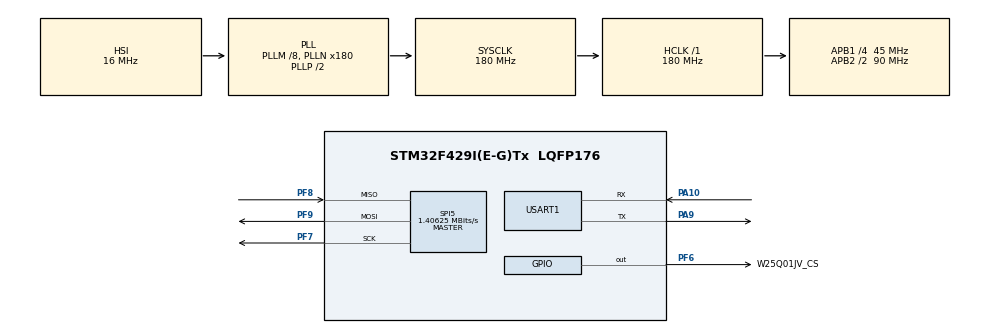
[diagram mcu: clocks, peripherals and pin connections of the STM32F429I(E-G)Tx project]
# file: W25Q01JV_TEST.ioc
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Mcu.Family=STM32F4
Mcu.Name=STM32F429I(E-G)Tx
Mcu.Package=LQFP176
NVIC.PriorityGroup=NVIC_PRIORITYGROUP_4
NVIC.USART1_IRQn=true\:0\:0\:false\:false\:true\:true\:true\:true
PA10.Mode=Asynchronous
PA10.Signal=USART1_RX
PA13.Mode=Serial_Wire
PA13.Signal=SYS_JTMS-SWDIO
PA14.Mode=Serial_Wire
PA14.Signal=SYS_JTCK-SWCLK
PA9.Mode=Asynchronous
PA9.Signal=USART1_TX
PF6.GPIO_Label=W25Q01JV_CS
PF6.Signal=GPIO_Output
PF7.Mode=Full_Duplex_Master
PF7.Signal=SPI5_SCK
PF8.Mode=Full_Duplex_Master
PF8.Signal=SPI5_MISO
PF9.Mode=Full_Duplex_Master
PF9.Signal=SPI5_MOSI
PH0/OSC_IN.Mode=HSE-External-Oscillator
PH0/OSC_IN.Signal=RCC_OSC_IN
PH1/OSC_OUT.Mode=HSE-External-Oscillator
PH1/OSC_OUT.Signal=RCC_OSC_OUT
ProjectManager.HeapSize=0x200
ProjectManager.StackSize=0x400
ProjectManager.TargetToolchain=MDK-ARM V5.32
RCC.48MHZClocksFreq_Value=90000000
RCC.AHBFreq_Value=180000000
RCC.APB1CLKDivider=RCC_HCLK_DIV4
RCC.APB1Freq_Value=45000000
RCC.APB1TimFreq_Value=90000000
RCC.APB2CLKDivider=RCC_HCLK_DIV2
RCC.APB2Freq_Value=90000000
RCC.APB2TimFreq_Value=180000000
RCC.CortexFreq_Value=180000000
RCC.HCLKFreq_Value=180000000
RCC.HSE_VALUE=25000000
RCC.HSI_VALUE=16000000
RCC.LSE_VALUE=32768
RCC.PLLM=8
RCC.PLLN=180
RCC.SYSCLKFreq_VALUE=180000000
RCC.SYSCLKSource=RCC_SYSCLKSOURCE_PLLCLK
RCC.VCOOutputFreq_Value=360000000
SPI5.BaudRatePrescaler=SPI_BAUDRATEPRESCALER_64
SPI5.CalculateBaudRate=1.40625 MBits/s
SPI5.Direction=SPI_DIRECTION_2LINES
SPI5.Mode=SPI_MODE_MASTER
SPI5.VirtualType=VM_MASTER
USART1.VirtualMode=VM_ASYNC
board=custom

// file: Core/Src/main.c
/* USER CODE BEGIN Header */
/**
  ******************************************************************************
  * @file           : main.c
  * @brief          : Main program body
  ******************************************************************************
  * @attention
  *
  * Copyright (c) 2026 STMicroelectronics.
  * All rights reserved.
  *
  * This software is licensed under terms that can be found in the LICENSE file
  * in the root directory of this software component.
  * If no LICENSE file comes with this software, it is provided AS-IS.
  *
  ******************************************************************************
  */
/* USER CODE END Header */
#include "main.h"
#include "spi.h"
#include "usart.h"
#include "gpio.h"

/* USER CODE BEGIN Includes */
#include "app_flash.h"
/* USER CODE END Includes */

void SystemClock_Config(void);

int main(void)
{

  /* MCU Configuration--------------------------------------------------------*/

  /* Reset of all peripherals, Initializes the Flash interface and the Systick. */
  HAL_Init();

  /* Configure the system clock */
  SystemClock_Config();

  /* Initialize all configured peripherals */
  MX_GPIO_Init();
  MX_SPI5_Init();
  MX_USART1_UART_Init();
  /* USER CODE BEGIN 2 */
  SysParam_t sysParam;

  // 检测 Flash 是否挂载成功
  App_Flash_Init();

  // ============ 首次刷机时取消注释以下行，运行一次后重新注释掉 ============
  // App_Flash_FactoryReset();   // 抹掉 Flash 里所有旧数据，确保从头开始
  // =======================================================================

  // 运行完整的读写可靠性测试
  App_Flash_Test();

  // 从 Flash 加载系统参数（如果是第一次开机，会自动初始化默认值并存回 Flash）
  App_Flash_LoadParam(&sysParam);

  // 先打印 Flash 原始值
  printf("[MAIN] Flash Raw Boot Count: %d\r\n", sysParam.boot_count);
  // 每次开机计数+1
  sysParam.boot_count++;
  // 打印更新后的计数值
  printf("[MAIN] Current Boot Count: %d\r\n", sysParam.boot_count);
  printf("[MAIN] Target Temperature: %.1f\r\n", sysParam.target_temp);
  printf("[MAIN] IP Address: %d.%d.%d.%d\r\n",
         sysParam.ip_addr[0], sysParam.ip_addr[1],
         sysParam.ip_addr[2], sysParam.ip_addr[3]);

  // 写回 Flash（保存更新后的开机次数）
  App_Flash_SaveParam(&sysParam);
  /* USER CODE END 2 */

  /* Infinite loop */
  /* USER CODE BEGIN WHILE */
  while (1)
  {
    HAL_Delay(3000);      // 每 3 秒打印一次
    printf("[MAIN] System Running... Boot Count: %d\r\n", sysParam.boot_count);
    /* USER CODE END WHILE */

  }
}

void SystemClock_Config(void)
{
  RCC_OscInitTypeDef RCC_OscInitStruct = {0};
  RCC_ClkInitTypeDef RCC_ClkInitStruct = {0};

  /** Configure the main internal regulator output voltage
  */
  __HAL_RCC_PWR_CLK_ENABLE();
  __HAL_PWR_VOLTAGESCALING_CONFIG(PWR_REGULATOR_VOLTAGE_SCALE1);

  /** Initializes the RCC Oscillators according to the specified parameters
  * in the RCC_OscInitTypeDef structure.
  */
  RCC_OscInitStruct.OscillatorType = RCC_OSCILLATORTYPE_HSI;
  RCC_OscInitStruct.HSIState = RCC_HSI_ON;
  RCC_OscInitStruct.HSICalibrationValue = RCC_HSICALIBRATION_DEFAULT;
  RCC_OscInitStruct.PLL.PLLState = RCC_PLL_ON;
  RCC_OscInitStruct.PLL.PLLSource = RCC_PLLSOURCE_HSI;
  RCC_OscInitStruct.PLL.PLLM = 8;
  RCC_OscInitStruct.PLL.PLLN = 180;
  RCC_OscInitStruct.PLL.PLLP = RCC_PLLP_DIV2;
  RCC_OscInitStruct.PLL.PLLQ = 4;
  if (HAL_RCC_OscConfig(&RCC_OscInitStruct) != HAL_OK)
  {
    Error_Handler();
  }

  /** Activate the Over-Drive mode
  */
  if (HAL_PWREx_EnableOverDrive() != HAL_OK)
  {
    Error_Handler();
  }

  /** Initializes the CPU, AHB and APB buses clocks
  */
  RCC_ClkInitStruct.ClockType = RCC_CLOCKTYPE_HCLK|RCC_CLOCKTYPE_SYSCLK
                              |RCC_CLOCKTYPE_PCLK1|RCC_CLOCKTYPE_PCLK2;
  RCC_ClkInitStruct.SYSCLKSource = RCC_SYSCLKSOURCE_PLLCLK;
  RCC_ClkInitStruct.AHBCLKDivider = RCC_SYSCLK_DIV1;
  RCC_ClkInitStruct.APB1CLKDivider = RCC_HCLK_DIV4;
  RCC_ClkInitStruct.APB2CLKDivider = RCC_HCLK_DIV2;

  if (HAL_RCC_ClockConfig(&RCC_ClkInitStruct, FLASH_LATENCY_5) != HAL_OK)
  {
    Error_Handler();
  }
}

void Error_Handler(void)
{
  __disable_irq();
  while (1)
  {
  }
}
